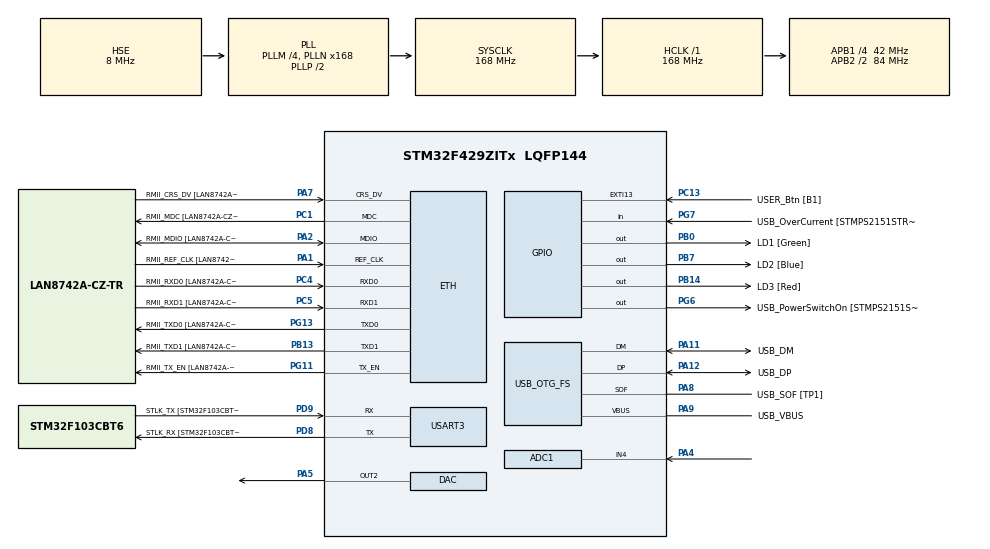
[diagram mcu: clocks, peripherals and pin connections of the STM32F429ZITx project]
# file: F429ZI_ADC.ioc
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ADC1.Channel-0\#ChannelRegularConversion=ADC_CHANNEL_4
ADC1.InjNumberOfConversion=0
ADC1.NbrOfConversion=1
ADC1.NbrOfConversionFlag=1
ADC1.Rank-0\#ChannelRegularConversion=1
ADC1.SamplingTime-0\#ChannelRegularConversion=ADC_SAMPLETIME_3CYCLES
ADC1.ScanConvMode=ENABLE
ADC1.master=1
DAC.DAC_Trigger2=DAC_TRIGGER_T7_TRGO
Dma.ADC1.0.Direction=DMA_PERIPH_TO_MEMORY
Dma.ADC1.0.FIFOMode=DMA_FIFOMODE_DISABLE
Dma.ADC1.0.Instance=DMA2_Stream0
Dma.ADC1.0.MemDataAlignment=DMA_MDATAALIGN_HALFWORD
Dma.ADC1.0.MemInc=DMA_MINC_ENABLE
Dma.ADC1.0.Mode=DMA_CIRCULAR
Dma.ADC1.0.PeriphDataAlignment=DMA_PDATAALIGN_HALFWORD
Dma.ADC1.0.PeriphInc=DMA_PINC_DISABLE
Dma.ADC1.0.Priority=DMA_PRIORITY_LOW
Dma.DAC2.2.Direction=DMA_MEMORY_TO_PERIPH
Dma.DAC2.2.FIFOMode=DMA_FIFOMODE_DISABLE
Dma.DAC2.2.Instance=DMA1_Stream6
Dma.DAC2.2.MemDataAlignment=DMA_MDATAALIGN_HALFWORD
Dma.DAC2.2.MemInc=DMA_MINC_ENABLE
Dma.DAC2.2.Mode=DMA_CIRCULAR
Dma.DAC2.2.PeriphDataAlignment=DMA_PDATAALIGN_HALFWORD
Dma.DAC2.2.PeriphInc=DMA_PINC_DISABLE
Dma.DAC2.2.Priority=DMA_PRIORITY_LOW
Dma.Request0=ADC1
Dma.Request1=USART3_TX
Dma.Request2=DAC2
Dma.USART3_TX.1.Direction=DMA_MEMORY_TO_PERIPH
Dma.USART3_TX.1.FIFOMode=DMA_FIFOMODE_DISABLE
Dma.USART3_TX.1.Instance=DMA1_Stream3
Dma.USART3_TX.1.MemDataAlignment=DMA_MDATAALIGN_BYTE
Dma.USART3_TX.1.MemInc=DMA_MINC_ENABLE
Dma.USART3_TX.1.Mode=DMA_CIRCULAR
Dma.USART3_TX.1.PeriphDataAlignment=DMA_PDATAALIGN_BYTE
Dma.USART3_TX.1.PeriphInc=DMA_PINC_DISABLE
Dma.USART3_TX.1.Priority=DMA_PRIORITY_LOW
ETH.MediaInterface=HAL_ETH_RMII_MODE
ETH.PHY_Name=LAN8742A_PHY_ADDRESS
ETH.PHY_Value=0
ETH.PhyAddress=0
Mcu.Family=STM32F4
Mcu.Name=STM32F429ZITx
Mcu.Package=LQFP144
NVIC.ADC_IRQn=true\:1\:0\:true\:false\:true\:true\:true\:true
NVIC.DMA1_Stream3_IRQn=true\:0\:0\:false\:false\:true\:false\:true\:true
NVIC.DMA1_Stream6_IRQn=true\:0\:0\:false\:false\:true\:false\:true\:true
NVIC.DMA2_Stream0_IRQn=true\:0\:0\:false\:false\:true\:false\:true\:true
NVIC.PriorityGroup=NVIC_PRIORITYGROUP_4
NVIC.TIM7_IRQn=true\:0\:0\:false\:false\:true\:true\:true\:true
NVIC.USART3_IRQn=true\:0\:0\:false\:false\:true\:true\:true\:true
PA1.GPIO_Label=RMII_REF_CLK [LAN8742A-CZ-TR_REFCLK0]
PA1.Mode=RMII
PA1.Signal=ETH_REF_CLK
PA10.GPIO_Label=USB_ID
PA10.Signal=USB_OTG_FS_ID
PA11.GPIO_Label=USB_DM
PA11.Mode=Device_Only
PA11.Signal=USB_OTG_FS_DM
PA12.GPIO_Label=USB_DP
PA12.Mode=Device_Only
PA12.Signal=USB_OTG_FS_DP
PA13.GPIO_Label=TMS
PA13.Mode=Serial_Wire
PA13.Signal=SYS_JTMS-SWDIO
PA14.GPIO_Label=TCK
PA14.Mode=Serial_Wire
PA14.Signal=SYS_JTCK-SWCLK
PA2.GPIO_Label=RMII_MDIO [LAN8742A-CZ-TR_MDIO]
PA2.Mode=RMII
PA2.Signal=ETH_MDIO
PA4.Signal=ADCx_IN4
PA5.Signal=COMP_DAC2_group
PA7.GPIO_Label=RMII_CRS_DV [LAN8742A-CZ-TR_CRS_DV]
PA7.Mode=RMII
PA7.Signal=ETH_CRS_DV
PA8.GPIO_Label=USB_SOF [TP1]
PA8.Mode=Activate_SOF_FS
PA8.Signal=USB_OTG_FS_SOF
PA9.GPIO_Label=USB_VBUS
PA9.Mode=Activate_VBUS
PA9.Signal=USB_OTG_FS_VBUS
PB0.GPIO_Label=LD1 [Green]
PB0.Signal=GPIO_Output
PB13.GPIO_Label=RMII_TXD1 [LAN8742A-CZ-TR_TXD1]
PB13.Mode=RMII
PB13.Signal=ETH_TXD1
PB14.GPIO_Label=LD3 [Red]
PB14.Signal=GPIO_Output
PB7.GPIO_Label=LD2 [Blue]
PB7.Signal=GPIO_Output
PC1.GPIO_Label=RMII_MDC [LAN8742A-CZ-TR_MDC]
PC1.Mode=RMII
PC1.Signal=ETH_MDC
PC13.GPIO_Label=USER_Btn [B1]
PC13.Signal=GPXTI13
PC14/OSC32_IN.Mode=LSE-External-Oscillator
PC14/OSC32_IN.Signal=RCC_OSC32_IN
PC15/OSC32_OUT.Mode=LSE-External-Oscillator
PC15/OSC32_OUT.Signal=RCC_OSC32_OUT
PC4.GPIO_Label=RMII_RXD0 [LAN8742A-CZ-TR_RXD0]
PC4.Mode=RMII
PC4.Signal=ETH_RXD0
PC5.GPIO_Label=RMII_RXD1 [LAN8742A-CZ-TR_RXD1]
PC5.Mode=RMII
PC5.Signal=ETH_RXD1
PD8.GPIO_Label=STLK_RX [STM32F103CBT6_PA3]
PD8.Mode=Asynchronous
PD8.Signal=USART3_TX
PD9.GPIO_Label=STLK_TX [STM32F103CBT6_PA2]
PD9.Mode=Asynchronous
PD9.Signal=USART3_RX
PG11.GPIO_Label=RMII_TX_EN [LAN8742A-CZ-TR_TXEN]
PG11.Mode=RMII
PG11.Signal=ETH_TX_EN
PG13.GPIO_Label=RMII_TXD0 [LAN8742A-CZ-TR_TXD0]
PG13.Mode=RMII
PG13.Signal=ETH_TXD0
PG6.GPIO_Label=USB_PowerSwitchOn [STMPS2151STR_EN]
PG6.Signal=GPIO_Output
PG7.GPIO_Label=USB_OverCurrent [STMPS2151STR_FAULT]
PG7.Signal=GPIO_Input
PH0/OSC_IN.GPIO_Label=MCO [STM32F103CBT6_PA8]
PH0/OSC_IN.Mode=HSE-External-Clock-Source
PH0/OSC_IN.Signal=RCC_OSC_IN
PH1/OSC_OUT.Mode=HSE-External-Clock-Source
PH1/OSC_OUT.Signal=RCC_OSC_OUT
ProjectManager.HeapSize=0x200
ProjectManager.StackSize=0x400
ProjectManager.TargetToolchain=STM32CubeIDE
RCC.48MHZClocksFreq_Value=48000000
RCC.AHBFreq_Value=168000000
RCC.APB1CLKDivider=RCC_HCLK_DIV4
RCC.APB1Freq_Value=42000000
RCC.APB1TimFreq_Value=84000000
RCC.APB2CLKDivider=RCC_HCLK_DIV2
RCC.APB2Freq_Value=84000000
RCC.APB2TimCLKDivider=2
RCC.APB2TimFreq_Value=168000000
RCC.CortexFreq_Value=168000000
RCC.HCLKFreq_Value=168000000
RCC.HSE_VALUE=8000000
RCC.HSI_VALUE=16000000
RCC.PLLM=4
RCC.PLLMUL=RCC_PLL_MUL9
RCC.PLLN=168
RCC.PLLQ=7
RCC.PRESCALERUSB=RCC_USBCLKSOURCE_PLL_DIV1_5
RCC.SYSCLKFreq_VALUE=168000000
RCC.SYSCLKSource=RCC_SYSCLKSOURCE_PLLCLK
RCC.SYSCLKSourceVirtual=RCC_SYSCLKSOURCE_PLLCLK
RCC.USBFreq_Value=48000000
RCC.VCOOutputFreq_Value=336000000
SH.ADCx_IN4.0=ADC1_IN4,IN4
SH.COMP_DAC2_group.0=DAC_OUT2,DAC_OUT2
TIM7.Period=0
TIM7.Prescaler=84-1
TIM7.TIM_MasterOutputTrigger=TIM_TRGO_UPDATE
USART3.VirtualMode=VM_ASYNC
USB_OTG_FS.VirtualMode=Device_Only
VP_TIM7_VS_ClockSourceINT.Mode=Enable_Timer
board=NUCLEO-F429ZI

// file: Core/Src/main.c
/* USER CODE BEGIN Header */
/**
  ******************************************************************************
  * @file           : main.c
  * @brief          : Main program body
  ******************************************************************************
  * @attention
  *
  * Copyright (c) 2024 STMicroelectronics.
  * All rights reserved.
  *
  * This software is licensed under terms that can be found in the LICENSE file
  * in the root directory of this software component.
  * If no LICENSE file comes with this software, it is provided AS-IS.
  *
  ******************************************************************************
  */
/* USER CODE END Header */
#include "main.h"
#include "string.h"

/* USER CODE BEGIN Includes */
#include "RCFilter.h"
/* USER CODE END Includes */

/* USER CODE BEGIN PD */
#define PI	3.14159
#define MAX_SAMPLES	10000
#define RES_12BIT	4096
#define ADC_BUFFER_LENGTH	2
/* USER CODE END PD */

ETH_TxPacketConfig TxConfig;
ETH_DMADescTypeDef  DMARxDscrTab[ETH_RX_DESC_CNT]; /* Ethernet Rx DMA Descriptors */
ETH_DMADescTypeDef  DMATxDscrTab[ETH_TX_DESC_CNT]; /* Ethernet Tx DMA Descriptors */

ADC_HandleTypeDef hadc1;
DMA_HandleTypeDef hdma_adc1;

DAC_HandleTypeDef hdac;
DMA_HandleTypeDef hdma_dac2;

ETH_HandleTypeDef heth;

TIM_HandleTypeDef htim7;

UART_HandleTypeDef huart3;
DMA_HandleTypeDef hdma_usart3_tx;

PCD_HandleTypeDef hpcd_USB_OTG_FS;

/* USER CODE BEGIN PV */
uint32_t sine_val[MAX_SAMPLES];
uint32_t adc_buffer[ADC_BUFFER_LENGTH];
uint8_t TxData[32];
RCFilter lpf_adc;
/* USER CODE END PV */

void SystemClock_Config(void);
static void MX_GPIO_Init(void);
static void MX_DMA_Init(void);
static void MX_ETH_Init(void);
static void MX_USART3_UART_Init(void);
static void MX_USB_OTG_FS_PCD_Init(void);
static void MX_ADC1_Init(void);
static void MX_DAC_Init(void);
static void MX_TIM7_Init(void);

/* USER CODE BEGIN 0 */
void get_sineval(){
	for (int i = 0; i < MAX_SAMPLES; i++){
		sine_val[i] = (sin(2 * PI * i / MAX_SAMPLES) + 1) * (RES_12BIT / 2);
	}
}

void HAL_ADC_ConvCpltCallback(ADC_HandleTypeDef* hadc){
	RCfilter_Update(&lpf_adc, adc_buffer[0]);
}

void HAL_ADC_ConvHalfCpltCallback(ADC_HandleTypeDef* hadc){
	RCfilter_Update(&lpf_adc, adc_buffer[1]);
}
/* USER CODE END 0 */

int main(void)
{

  /* MCU Configuration--------------------------------------------------------*/

  /* Reset of all peripherals, Initializes the Flash interface and the Systick. */
  HAL_Init();

  /* Configure the system clock */
  SystemClock_Config();

  /* Initialize all configured peripherals */
  MX_GPIO_Init();
  MX_DMA_Init();
  MX_ETH_Init();
  MX_USART3_UART_Init();
  MX_USB_OTG_FS_PCD_Init();
  MX_ADC1_Init();
  MX_DAC_Init();
  MX_TIM7_Init();
  /* USER CODE BEGIN 2 */
  get_sineval();
  RCFilter_Init(&lpf_adc, 1000.0f, 0.0005f);

  HAL_DAC_Start_DMA(&hdac, DAC_CHANNEL_2, sine_val, MAX_SAMPLES, DAC_ALIGN_12B_R);
  HAL_TIM_Base_Start(&htim7);
  HAL_ADC_Start_DMA(&hadc1, adc_buffer, ADC_BUFFER_LENGTH);

  /* USER CODE END 2 */

  /* Infinite loop */
  /* USER CODE BEGIN WHILE */
  int a=0;
  while (1)
  {
	  a++;
	  sprintf(TxData, "%d %d\r\n", adc_buffer[0], adc_buffer[1]);
	  HAL_UART_Transmit(&huart3, TxData, 32, HAL_MAX_DELAY);

    /* USER CODE END WHILE */

  }
}

void SystemClock_Config(void)
{
  RCC_OscInitTypeDef RCC_OscInitStruct = {0};
  RCC_ClkInitTypeDef RCC_ClkInitStruct = {0};

  /** Configure the main internal regulator output voltage
  */
  __HAL_RCC_PWR_CLK_ENABLE();
  __HAL_PWR_VOLTAGESCALING_CONFIG(PWR_REGULATOR_VOLTAGE_SCALE1);

  /** Initializes the RCC Oscillators according to the specified parameters
  * in the RCC_OscInitTypeDef structure.
  */
  RCC_OscInitStruct.OscillatorType = RCC_OSCILLATORTYPE_HSE;
  RCC_OscInitStruct.HSEState = RCC_HSE_BYPASS;
  RCC_OscInitStruct.PLL.PLLState = RCC_PLL_ON;
  RCC_OscInitStruct.PLL.PLLSource = RCC_PLLSOURCE_HSE;
  RCC_OscInitStruct.PLL.PLLM = 4;
  RCC_OscInitStruct.PLL.PLLN = 168;
  RCC_OscInitStruct.PLL.PLLP = RCC_PLLP_DIV2;
  RCC_OscInitStruct.PLL.PLLQ = 7;
  if (HAL_RCC_OscConfig(&RCC_OscInitStruct) != HAL_OK)
  {
    Error_Handler();
  }

  /** Initializes the CPU, AHB and APB buses clocks
  */
  RCC_ClkInitStruct.ClockType = RCC_CLOCKTYPE_HCLK|RCC_CLOCKTYPE_SYSCLK
                              |RCC_CLOCKTYPE_PCLK1|RCC_CLOCKTYPE_PCLK2;
  RCC_ClkInitStruct.SYSCLKSource = RCC_SYSCLKSOURCE_PLLCLK;
  RCC_ClkInitStruct.AHBCLKDivider = RCC_SYSCLK_DIV1;
  RCC_ClkInitStruct.APB1CLKDivider = RCC_HCLK_DIV4;
  RCC_ClkInitStruct.APB2CLKDivider = RCC_HCLK_DIV2;

  if (HAL_RCC_ClockConfig(&RCC_ClkInitStruct, FLASH_LATENCY_5) != HAL_OK)
  {
    Error_Handler();
  }
}

static void MX_ADC1_Init(void)
{

  ADC_ChannelConfTypeDef sConfig = {0};

  /** Configure the global features of the ADC (Clock, Resolution, Data Alignment and number of conversion)
  */
  hadc1.Instance = ADC1;
  hadc1.Init.ClockPrescaler = ADC_CLOCK_SYNC_PCLK_DIV4;
  hadc1.Init.Resolution = ADC_RESOLUTION_12B;
  hadc1.Init.ScanConvMode = ENABLE;
  hadc1.Init.ContinuousConvMode = DISABLE;
  hadc1.Init.DiscontinuousConvMode = DISABLE;
  hadc1.Init.ExternalTrigConvEdge = ADC_EXTERNALTRIGCONVEDGE_NONE;
  hadc1.Init.ExternalTrigConv = ADC_SOFTWARE_START;
  hadc1.Init.DataAlign = ADC_DATAALIGN_RIGHT;
  hadc1.Init.NbrOfConversion = 1;
  hadc1.Init.DMAContinuousRequests = DISABLE;
  hadc1.Init.EOCSelection = ADC_EOC_SINGLE_CONV;
  if (HAL_ADC_Init(&hadc1) != HAL_OK)
  {
    Error_Handler();
  }

  /** Configure for the selected ADC regular channel its corresponding rank in the sequencer and its sample time.
  */
  sConfig.Channel = ADC_CHANNEL_4;
  sConfig.Rank = 1;
  sConfig.SamplingTime = ADC_SAMPLETIME_3CYCLES;
  if (HAL_ADC_ConfigChannel(&hadc1, &sConfig) != HAL_OK)
  {
    Error_Handler();
  }

}

static void MX_DAC_Init(void)
{

  DAC_ChannelConfTypeDef sConfig = {0};

  /** DAC Initialization
  */
  hdac.Instance = DAC;
  if (HAL_DAC_Init(&hdac) != HAL_OK)
  {
    Error_Handler();
  }

  /** DAC channel OUT2 config
  */
  sConfig.DAC_Trigger = DAC_TRIGGER_T7_TRGO;
  sConfig.DAC_OutputBuffer = DAC_OUTPUTBUFFER_ENABLE;
  if (HAL_DAC_ConfigChannel(&hdac, &sConfig, DAC_CHANNEL_2) != HAL_OK)
  {
    Error_Handler();
  }

}

static void MX_ETH_Init(void)
{

   static uint8_t MACAddr[6];

  heth.Instance = ETH;
  MACAddr[0] = 0x00;
  MACAddr[1] = 0x80;
  MACAddr[2] = 0xE1;
  MACAddr[3] = 0x00;
  MACAddr[4] = 0x00;
  MACAddr[5] = 0x00;
  heth.Init.MACAddr = &MACAddr[0];
  heth.Init.MediaInterface = HAL_ETH_RMII_MODE;
  heth.Init.TxDesc = DMATxDscrTab;
  heth.Init.RxDesc = DMARxDscrTab;
  heth.Init.RxBuffLen = 1524;

  if (HAL_ETH_Init(&heth) != HAL_OK)
  {
    Error_Handler();
  }

  memset(&TxConfig, 0 , sizeof(ETH_TxPacketConfig));
  TxConfig.Attributes = ETH_TX_PACKETS_FEATURES_CSUM | ETH_TX_PACKETS_FEATURES_CRCPAD;
  TxConfig.ChecksumCtrl = ETH_CHECKSUM_IPHDR_PAYLOAD_INSERT_PHDR_CALC;
  TxConfig.CRCPadCtrl = ETH_CRC_PAD_INSERT;

}

static void MX_TIM7_Init(void)
{

  TIM_MasterConfigTypeDef sMasterConfig = {0};

  htim7.Instance = TIM7;
  htim7.Init.Prescaler = 84-1;
  htim7.Init.CounterMode = TIM_COUNTERMODE_UP;
  htim7.Init.Period = 0;
  htim7.Init.AutoReloadPreload = TIM_AUTORELOAD_PRELOAD_DISABLE;
  if (HAL_TIM_Base_Init(&htim7) != HAL_OK)
  {
    Error_Handler();
  }
  sMasterConfig.MasterOutputTrigger = TIM_TRGO_UPDATE;
  sMasterConfig.MasterSlaveMode = TIM_MASTERSLAVEMODE_DISABLE;
  if (HAL_TIMEx_MasterConfigSynchronization(&htim7, &sMasterConfig) != HAL_OK)
  {
    Error_Handler();
  }

}

static void MX_USART3_UART_Init(void)
{

  huart3.Instance = USART3;
  huart3.Init.BaudRate = 115200;
  huart3.Init.WordLength = UART_WORDLENGTH_8B;
  huart3.Init.StopBits = UART_STOPBITS_1;
  huart3.Init.Parity = UART_PARITY_NONE;
  huart3.Init.Mode = UART_MODE_TX_RX;
  huart3.Init.HwFlowCtl = UART_HWCONTROL_NONE;
  huart3.Init.OverSampling = UART_OVERSAMPLING_16;
  if (HAL_UART_Init(&huart3) != HAL_OK)
  {
    Error_Handler();
  }

}

static void MX_USB_OTG_FS_PCD_Init(void)
{

  hpcd_USB_OTG_FS.Instance = USB_OTG_FS;
  hpcd_USB_OTG_FS.Init.dev_endpoints = 4;
  hpcd_USB_OTG_FS.Init.speed = PCD_SPEED_FULL;
  hpcd_USB_OTG_FS.Init.dma_enable = DISABLE;
  hpcd_USB_OTG_FS.Init.phy_itface = PCD_PHY_EMBEDDED;
  hpcd_USB_OTG_FS.Init.Sof_enable = ENABLE;
  hpcd_USB_OTG_FS.Init.low_power_enable = DISABLE;
  hpcd_USB_OTG_FS.Init.lpm_enable = DISABLE;
  hpcd_USB_OTG_FS.Init.vbus_sensing_enable = ENABLE;
  hpcd_USB_OTG_FS.Init.use_dedicated_ep1 = DISABLE;
  if (HAL_PCD_Init(&hpcd_USB_OTG_FS) != HAL_OK)
  {
    Error_Handler();
  }

}

static void MX_DMA_Init(void)
{

  /* DMA controller clock enable */
  __HAL_RCC_DMA2_CLK_ENABLE();
  __HAL_RCC_DMA1_CLK_ENABLE();

  /* DMA interrupt init */
  /* DMA1_Stream3_IRQn interrupt configuration */
  HAL_NVIC_SetPriority(DMA1_Stream3_IRQn, 0, 0);
  HAL_NVIC_EnableIRQ(DMA1_Stream3_IRQn);
  /* DMA1_Stream6_IRQn interrupt configuration */
  HAL_NVIC_SetPriority(DMA1_Stream6_IRQn, 0, 0);
  HAL_NVIC_EnableIRQ(DMA1_Stream6_IRQn);
  /* DMA2_Stream0_IRQn interrupt configuration */
  HAL_NVIC_SetPriority(DMA2_Stream0_IRQn, 0, 0);
  HAL_NVIC_EnableIRQ(DMA2_Stream0_IRQn);

}

static void MX_GPIO_Init(void)
{
  GPIO_InitTypeDef GPIO_InitStruct = {0};

  /* GPIO Ports Clock Enable */
  __HAL_RCC_GPIOC_CLK_ENABLE();
  __HAL_RCC_GPIOH_CLK_ENABLE();
  __HAL_RCC_GPIOA_CLK_ENABLE();
  __HAL_RCC_GPIOB_CLK_ENABLE();
  __HAL_RCC_GPIOD_CLK_ENABLE();
  __HAL_RCC_GPIOG_CLK_ENABLE();

  /*Configure GPIO pin Output Level */
  HAL_GPIO_WritePin(GPIOB, LD1_Pin|LD3_Pin|LD2_Pin, GPIO_PIN_RESET);

  /*Configure GPIO pin Output Level */
  HAL_GPIO_WritePin(USB_PowerSwitchOn_GPIO_Port, USB_PowerSwitchOn_Pin, GPIO_PIN_RESET);

  /*Configure GPIO pin : USER_Btn_Pin */
  GPIO_InitStruct.Pin = USER_Btn_Pin;
  GPIO_InitStruct.Mode = GPIO_MODE_IT_RISING;
  GPIO_InitStruct.Pull = GPIO_NOPULL;
  HAL_GPIO_Init(USER_Btn_GPIO_Port, &GPIO_InitStruct);

  /*Configure GPIO pins : LD1_Pin LD3_Pin LD2_Pin */
  GPIO_InitStruct.Pin = LD1_Pin|LD3_Pin|LD2_Pin;
  GPIO_InitStruct.Mode = GPIO_MODE_OUTPUT_PP;
  GPIO_InitStruct.Pull = GPIO_NOPULL;
  GPIO_InitStruct.Speed = GPIO_SPEED_FREQ_LOW;
  HAL_GPIO_Init(GPIOB, &GPIO_InitStruct);

  /*Configure GPIO pin : USB_PowerSwitchOn_Pin */
  GPIO_InitStruct.Pin = USB_PowerSwitchOn_Pin;
  GPIO_InitStruct.Mode = GPIO_MODE_OUTPUT_PP;
  GPIO_InitStruct.Pull = GPIO_NOPULL;
  GPIO_InitStruct.Speed = GPIO_SPEED_FREQ_LOW;
  HAL_GPIO_Init(USB_PowerSwitchOn_GPIO_Port, &GPIO_InitStruct);

  /*Configure GPIO pin : USB_OverCurrent_Pin */
  GPIO_InitStruct.Pin = USB_OverCurrent_Pin;
  GPIO_InitStruct.Mode = GPIO_MODE_INPUT;
  GPIO_InitStruct.Pull = GPIO_NOPULL;
  HAL_GPIO_Init(USB_OverCurrent_GPIO_Port, &GPIO_InitStruct);

}

void Error_Handler(void)
{
  __disable_irq();
  while (1)
  {
  }
}
